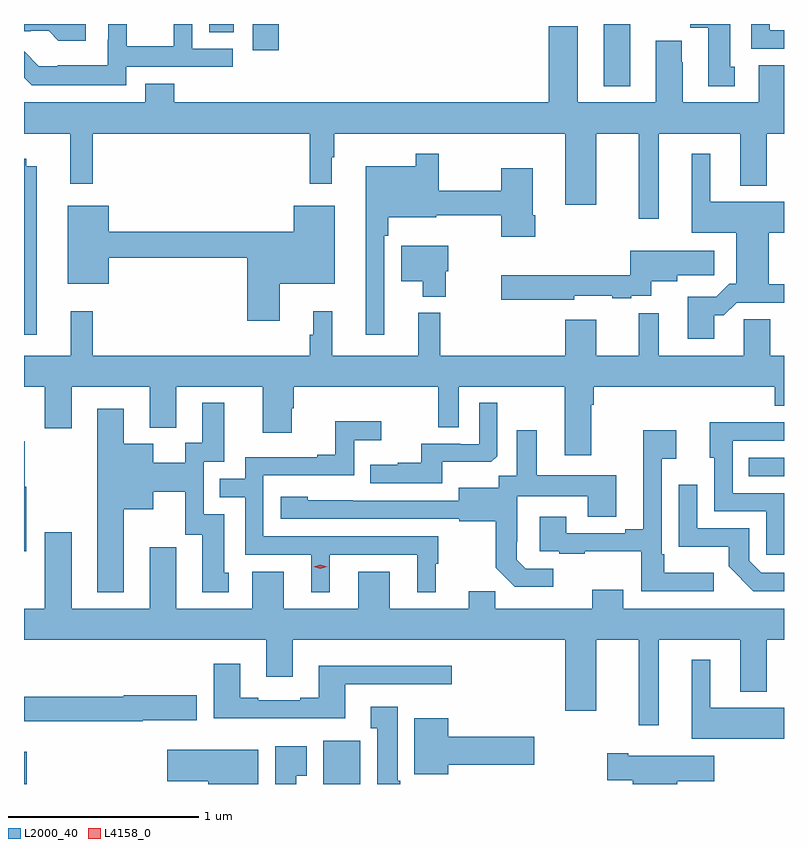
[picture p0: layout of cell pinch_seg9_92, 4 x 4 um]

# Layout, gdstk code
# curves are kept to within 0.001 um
import gdstk
lib = gdstk.Library(unit=1e-6, precision=1e-09)
def R(c, l, rs):  # rectangles x0, y0, x1, y1
    for r in rs: c.add(gdstk.rectangle(r[:2], r[2:], *l))
def P(c, l, *ps):  # polygons
    for p in ps: c.add(gdstk.Polygon(p, *l))
L2000_40 = (2000, 40)
L4158_0 = (4158, 0)

pinch_seg9_92 = lib.new_cell('pinch_seg9_92')
R(pinch_seg9_92, L2000_40, [(1109.211,1192.997,1109.225,1193.167), (1110.785,1192.997,1110.982,1193.224), (1113.025,1194.618,1113.211,1194.714), (1112.261,1196.669,1112.401,1196.997), (1110.416,1196.859,1110.551,1196.997), (1110.185,1196.953,1110.316,1196.997)])
P(pinch_seg9_92, L2000_40, [(1109.748,1196.772),(1110.31,1196.772),(1110.31,1196.868),(1110.096,1196.868),(1110.096,1196.997),(1109.998,1196.997),(1109.998,1196.881),(1109.753,1196.881),(1109.753,1196.997),(1109.654,1196.997),(1109.654,1196.913),(1109.652,1196.913),(1109.652,1196.779),(1109.389,1196.779),(1109.389,1196.775),(1109.289,1196.775),(1109.211,1196.853),(1109.211,1196.715),(1109.251,1196.675),(1109.748,1196.675)],
  [(1113.211,1196.964),(1113.135,1196.964),(1113.135,1196.997),(1113.039,1196.997),(1113.039,1196.868),(1113.211,1196.868)],
  [(1109.536,1196.997),(1109.211,1196.997),(1109.211,1196.958),(1109.246,1196.958),(1109.246,1196.961),(1109.34,1196.961),(1109.392,1196.909),(1109.536,1196.909)],
  [(1112.953,1196.772),(1112.929,1196.772),(1112.929,1196.997),(1112.717,1196.997),(1112.717,1196.976),(1112.813,1196.976),(1112.813,1196.67),(1112.953,1196.67)],
  [(1112.551,1196.42),(1112.981,1196.42),(1112.981,1196.147),(1113.121,1196.147),(1113.121,1196.42),(1113.211,1196.42),(1113.211,1196.779),(1113.077,1196.779),(1113.077,1196.584),(1112.677,1196.584),(1112.677,1196.795),(1112.674,1196.795),(1112.674,1196.908),(1112.537,1196.908),(1112.537,1196.584),(1112.125,1196.584),(1112.125,1196.986),(1111.973,1196.986),(1111.973,1196.584),(1110.002,1196.584),(1110.002,1196.683),(1109.849,1196.683),(1109.849,1196.584),(1109.211,1196.584),(1109.211,1196.42),(1109.455,1196.42),(1109.455,1196.157),(1109.573,1196.157),(1109.573,1196.42),(1110.715,1196.42),(1110.715,1196.157),(1110.832,1196.157),(1110.832,1196.297),(1110.844,1196.297),(1110.844,1196.42),(1112.06,1196.42),(1112.06,1196.046),(1112.224,1196.046),(1112.224,1196.42),(1112.447,1196.42),(1112.447,1195.971),(1112.551,1195.971)],
  [(1112.845,1195.463),(1112.894,1195.463),(1112.961,1195.53),(1113.211,1195.53),(1113.211,1195.628),(1113.131,1195.628),(1113.131,1195.898),(1113.211,1195.898),(1113.211,1196.062),(1112.824,1196.062),(1112.824,1196.314),(1112.726,1196.314),(1112.726,1195.898),(1112.96,1195.898),(1112.96,1195.631),(1112.924,1195.631),(1112.854,1195.561),(1112.705,1195.561),(1112.705,1195.341),(1112.845,1195.341)],
  [(1111.107,1195.883),(1111.127,1195.883),(1111.127,1195.979),(1111.381,1195.979),(1111.381,1195.99),(1111.723,1195.99),(1111.723,1195.878),(1111.901,1195.878),(1111.901,1195.99),(1111.888,1195.99),(1111.888,1196.239),(1111.723,1196.239),(1111.723,1196.119),(1111.393,1196.119),(1111.393,1196.314),(1111.272,1196.314),(1111.272,1196.248),(1111.01,1196.248),(1111.01,1195.362),(1111.107,1195.362)],
  [(1109.278,1196.248),(1109.224,1196.248),(1109.224,1196.287),(1109.211,1196.287),(1109.211,1195.362),(1109.278,1195.362)],
  [(1110.556,1195.631),(1110.847,1195.631),(1110.847,1196.041),(1110.632,1196.041),(1110.632,1195.904),(1109.656,1195.904),(1109.656,1196.041),(1109.441,1196.041),(1109.441,1195.631),(1109.656,1195.631),(1109.656,1195.768),(1110.386,1195.768),(1110.386,1195.434),(1110.556,1195.434)],
  [(1111.432,1195.695),(1111.444,1195.695),(1111.444,1195.831),(1111.196,1195.831),(1111.196,1195.643),(1111.31,1195.643),(1111.31,1195.562),(1111.432,1195.562)],
  [(1112.106,1195.566),(1112.307,1195.566),(1112.307,1195.554),(1112.408,1195.554),(1112.408,1195.566),(1112.513,1195.566),(1112.513,1195.643),(1112.65,1195.643),(1112.65,1195.675),(1112.845,1195.675),(1112.845,1195.804),(1112.403,1195.804),(1112.403,1195.675),(1111.722,1195.675),(1111.722,1195.546),(1112.106,1195.546)],
  [(1111.286,1195.252),(1110.833,1195.252),(1110.833,1195.486),(1110.734,1195.486),(1110.734,1195.361),(1110.715,1195.361),(1110.715,1195.252),(1109.573,1195.252),(1109.573,1195.486),(1109.456,1195.486),(1109.456,1195.252),(1109.211,1195.252),(1109.211,1195.088),(1109.321,1195.088),(1109.321,1194.87),(1109.461,1194.87),(1109.461,1195.088),(1109.873,1195.088),(1109.873,1194.872),(1110.013,1194.872),(1110.013,1195.088),(1110.467,1195.088),(1110.467,1194.846),(1110.619,1194.846),(1110.619,1194.975),(1110.632,1194.975),(1110.632,1195.088),(1111.392,1195.088),(1111.392,1194.874),(1111.5,1194.874),(1111.5,1195.088),(1112.057,1195.088),(1112.057,1194.726),(1112.197,1194.726),(1112.197,1194.992),(1112.21,1194.992),(1112.21,1195.088),(1113.161,1195.088),(1113.161,1194.989),(1113.211,1194.989),(1113.211,1195.252),(1113.139,1195.252),(1113.139,1195.442),(1113,1195.442),(1113,1195.252),(1112.551,1195.252),(1112.551,1195.474),(1112.447,1195.474),(1112.447,1195.252),(1112.224,1195.252),(1112.224,1195.441),(1112.06,1195.441),(1112.06,1195.252),(1111.403,1195.252),(1111.403,1195.477),(1111.286,1195.477)],
  [(1109.737,1194.443),(1109.89,1194.443),(1109.89,1194.536),(1110.06,1194.536),(1110.06,1194.309),(1110.149,1194.309),(1110.149,1194.006),(1110.289,1194.006),(1110.289,1194.108),(1110.265,1194.108),(1110.265,1194.417),(1110.156,1194.417),(1110.156,1194.693),(1110.265,1194.693),(1110.265,1195.003),(1110.149,1195.003),(1110.149,1194.794),(1110.059,1194.794),(1110.059,1194.688),(1109.89,1194.688),(1109.89,1194.787),(1109.737,1194.787),(1109.737,1194.973),(1109.597,1194.973),(1109.597,1194.005),(1109.737,1194.005)],
  [(1111.411,1194.692),(1111.669,1194.692),(1111.701,1194.723),(1111.701,1195.003),(1111.608,1195.003),(1111.608,1194.786),(1111.508,1194.786),(1111.508,1194.789),(1111.301,1194.789),(1111.301,1194.688),(1111.177,1194.688),(1111.177,1194.676),(1111.033,1194.676),(1111.033,1194.579),(1111.411,1194.579)],
  [(1110.82,1194.204),(1111.28,1194.204),(1111.28,1194.005),(1111.378,1194.005),(1111.378,1194.156),(1111.39,1194.156),(1111.39,1194.3),(1110.471,1194.3),(1110.471,1194.621),(1110.948,1194.621),(1110.948,1194.806),(1111.09,1194.806),(1111.09,1194.905),(1110.85,1194.905),(1110.85,1194.73),(1110.755,1194.73),(1110.755,1194.717),(1110.375,1194.717),(1110.375,1194.603),(1110.241,1194.603),(1110.241,1194.507),(1110.375,1194.507),(1110.375,1194.204),(1110.722,1194.204),(1110.722,1194.005),(1110.82,1194.005)],
  [(1113.211,1194.528),(1112.94,1194.528),(1112.94,1194.804),(1113.211,1194.804),(1113.211,1194.9),(1113.037,1194.9),(1113.037,1194.902),(1112.819,1194.902),(1112.819,1194.714),(1112.844,1194.714),(1112.844,1194.432),(1113.117,1194.432),(1113.117,1194.204),(1113.211,1194.204)],
  [(1112.842,1194.109),(1112.581,1194.109),(1112.581,1194.205),(1112.568,1194.205),(1112.568,1194.71),(1112.644,1194.71),(1112.644,1194.859),(1112.471,1194.859),(1112.471,1194.337),(1112.375,1194.337),(1112.375,1194.318),(1112.065,1194.318),(1112.065,1194.403),(1111.925,1194.403),(1111.925,1194.222),(1112.029,1194.222),(1112.029,1194.21),(1112.161,1194.21),(1112.161,1194.221),(1112.46,1194.221),(1112.46,1194.012),(1112.842,1194.012)],
  [(1111.996,1194.129),(1111.851,1194.129),(1111.804,1194.176),(1111.804,1194.271),(1111.806,1194.271),(1111.806,1194.512),(1112.177,1194.512),(1112.177,1194.403),(1112.329,1194.403),(1112.329,1194.622),(1111.909,1194.622),(1111.909,1194.859),(1111.805,1194.859),(1111.805,1194.62),(1111.71,1194.62),(1111.71,1194.556),(1111.499,1194.556),(1111.499,1194.489),(1110.705,1194.49),(1110.705,1194.508),(1110.561,1194.508),(1110.561,1194.393),(1111.503,1194.393),(1111.503,1194.381),(1111.695,1194.381),(1111.695,1194.135),(1111.795,1194.035),(1111.996,1194.035)],
  [(1109.224,1194.561),(1109.214,1194.561),(1109.214,1194.8),(1109.211,1194.8),(1109.211,1194.221),(1109.224,1194.221)],
  [(1113.211,1194.108),(1113.09,1194.108),(1113.027,1194.171),(1113.027,1194.342),(1112.754,1194.342),(1112.754,1194.571),(1112.658,1194.571),(1112.658,1194.245),(1112.92,1194.245),(1112.92,1194.143),(1113.05,1194.012),(1113.211,1194.012)],
  [(1109.873,1194.244),(1109.873,1193.92),(1109.461,1193.92),(1109.461,1194.322),(1109.321,1194.322),(1109.321,1193.92),(1109.211,1193.92),(1109.211,1193.756),(1110.485,1193.756),(1110.485,1193.562),(1110.625,1193.562),(1110.625,1193.756),(1112.06,1193.756),(1112.06,1193.382),(1112.224,1193.382),(1112.224,1193.756),(1112.447,1193.756),(1112.447,1193.307),(1112.551,1193.307),(1112.551,1193.756),(1112.981,1193.756),(1112.981,1193.483),(1113.121,1193.483),(1113.121,1193.756),(1113.211,1193.756),(1113.211,1193.92),(1112.365,1193.92),(1112.365,1194.019),(1112.201,1194.019),(1112.201,1193.92),(1111.691,1193.92),(1111.691,1194.011),(1111.553,1194.011),(1111.553,1193.92),(1111.135,1193.92),(1111.135,1194.115),(1110.971,1194.115),(1110.971,1193.92),(1110.577,1193.92),(1110.577,1194.115),(1110.413,1194.115),(1110.413,1193.92),(1110.013,1193.92),(1110.013,1194.244)],
  [(1113.211,1193.398),(1112.824,1193.398),(1112.824,1193.65),(1112.726,1193.65),(1112.726,1193.234),(1113.211,1193.234)],
  [(1110.901,1193.523),(1111.462,1193.523),(1111.462,1193.62),(1110.761,1193.62),(1110.761,1193.452),(1110.665,1193.452),(1110.665,1193.439),(1110.445,1193.439),(1110.445,1193.452),(1110.349,1193.452),(1110.349,1193.629),(1110.209,1193.629),(1110.209,1193.342),(1110.901,1193.342)],
  [(1109.836,1193.333),(1110.121,1193.333),(1110.121,1193.463),(1109.736,1193.463),(1109.736,1193.455),(1109.211,1193.455),(1109.211,1193.326),(1109.836,1193.326)],
  [(1111.192,1193.014),(1111.177,1193.014),(1111.177,1193.404),(1111.037,1193.404),(1111.037,1193.291),(1111.07,1193.291),(1111.07,1192.997),(1111.192,1192.997)],
  [(1111.444,1193.099),(1111.897,1193.099),(1111.897,1193.246),(1111.444,1193.246),(1111.444,1193.344),(1111.265,1193.344),(1111.265,1193.048),(1111.444,1193.048)],
  [(1110.643,1193.041),(1110.7,1193.041),(1110.7,1193.197),(1110.533,1193.197),(1110.533,1192.997),(1110.643,1192.997)],
  [(1110.445,1193.176),(1109.964,1193.176),(1109.964,1193.011),(1110.182,1193.011),(1110.182,1192.997),(1110.445,1192.997)],
  [(1112.65,1193.011),(1112.845,1193.011),(1112.845,1193.146),(1112.392,1193.146),(1112.392,1193.159),(1112.28,1193.159),(1112.28,1193.017),(1112.414,1193.017),(1112.414,1192.997),(1112.65,1192.997)])
P(pinch_seg9_92, L4158_0, [(1110.771,1194.131),(1110.735,1194.141),(1110.735,1194.141),(1110.735,1194.141),(1110.771,1194.151),(1110.807,1194.141),(1110.807,1194.141),(1110.807,1194.141)])

lib.write_gds('pinch_seg9_92.gds')
